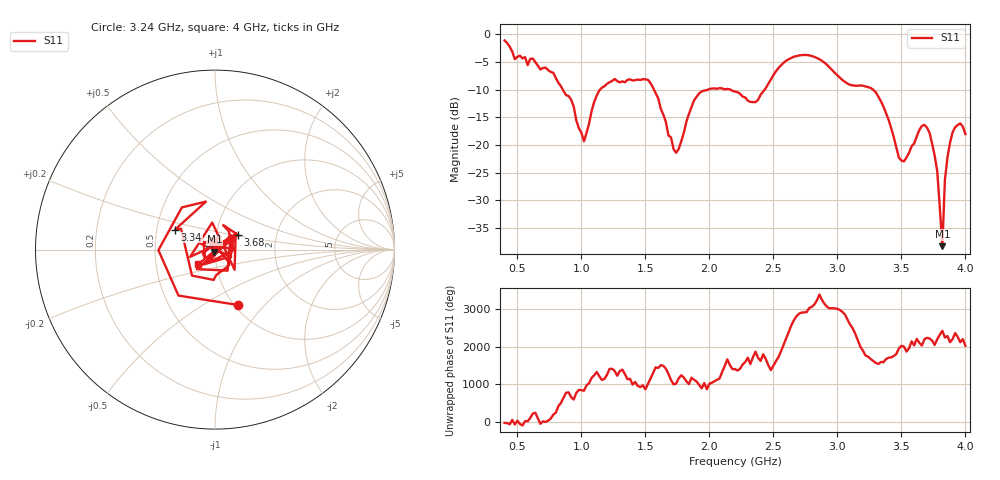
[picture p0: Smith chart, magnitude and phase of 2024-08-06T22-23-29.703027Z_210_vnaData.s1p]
!Created with skrf (http://scikit-rf.org).
# Hz S RI R 50.0
!freq ReS11 ImS11
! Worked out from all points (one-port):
!   181 points, 400 MHz to 4 GHz, reference 50 ohm
!   lowest |S11| = -38.3 dB at 3.82 GHz (marker M1), VSWR 1.02, Z = 49.7 - j1.18 ohm
!   |S11| at or under -10 dB: 854.5 MHz to 1.146 GHz (291.9 MHz wide, 29.2 % of centre); 1.567 GHz to 1.99 GHz (422.7 MHz wide, 23.8 % of centre); 3.278 GHz to end of sweep (the widest 3 of 4)
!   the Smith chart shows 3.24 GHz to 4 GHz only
!   S11 on the Smith chart (normalised r, x): 3.24 GHz: 1.03, -0.72; 3.34 GHz: 0.62, +0.15; 3.68 GHz: 1.27, +0.22; 4 GHz: 0.82, -0.14
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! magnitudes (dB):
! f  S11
! 400 MHz  -1.1
! 480 MHz  -4.5
! 860 MHz  -10.2
! 920 MHz  -11.8
! 1.02 GHz  -19.3
! 1.14 GHz  -10.2
! 1.3 GHz  -8.7
! 1.52 GHz  -8.2
! 1.72 GHz  -20.7
! 1.76 GHz  -20.7
! 1.92 GHz  -10.7
! 2.2 GHz  -10.3
! 2.36 GHz  -12.3
! 2.66 GHz  -4.1
! 2.86 GHz  -4.5
! 3.1 GHz  -9.2
! 3.24 GHz  -9.6
! 3.34 GHz  -12.1
! 3.48 GHz  -22.3
! 3.56 GHz  -21.4
! 3.68 GHz  -16.4
! 3.72 GHz  -17.8
! 3.78 GHz  -24.7
! 3.82 GHz  -38.3
! 3.84 GHz  -26.3
! 3.88 GHz  -19.6
! 3.96 GHz  -16.1
! 4 GHz  -18.0
